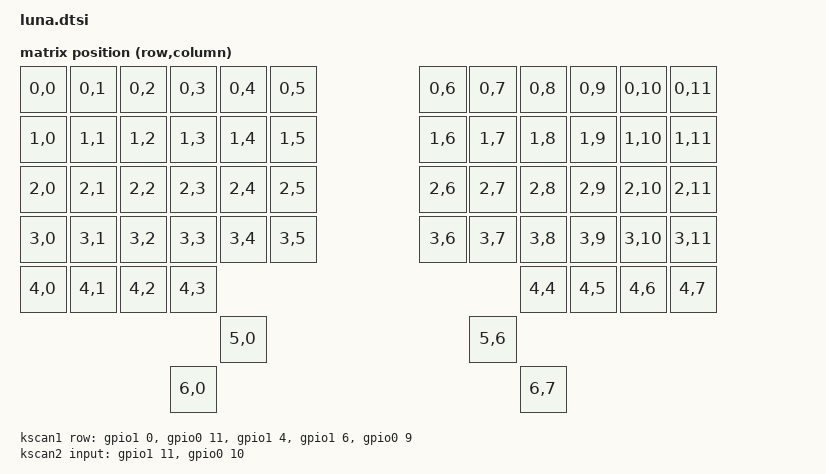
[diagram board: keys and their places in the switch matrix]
#include<dt-bindings/zmk/matrix_transform.h>

/ {
    chosen {
        zmk,kscan = &kscan0;
        zmk,matrix-transform = &default_transform;
    };

    default_transform: keymap_transform_0 {
        compatible = "zmk,matrix-transform";
        columns = <11>;
        rows = <6>;
        map = <
            RC(0,0) RC(0,1) RC(0,2) RC(0,3) RC(0,4) RC(0,5)                 RC(0,6) RC(0,7) RC(0,8) RC(0,9) RC(0,10) RC(0,11)
            RC(1,0) RC(1,1) RC(1,2) RC(1,3) RC(1,4) RC(1,5)                 RC(1,6) RC(1,7) RC(1,8) RC(1,9) RC(1,10) RC(1,11)
            RC(2,0) RC(2,1) RC(2,2) RC(2,3) RC(2,4) RC(2,5)                 RC(2,6) RC(2,7) RC(2,8) RC(2,9) RC(2,10) RC(2,11)
            RC(3,0) RC(3,1) RC(3,2) RC(3,3) RC(3,4) RC(3,5)                 RC(3,6) RC(3,7) RC(3,8) RC(3,9) RC(3,10) RC(3,11)
            RC(4,0) RC(4,1) RC(4,2) RC(4,3)                                                 RC(4,4) RC(4,5) RC(4,6)  RC(4,7)
                                           RC(5,0)                                   RC(5,6)
                                    RC(6,0)                                                RC(6,7)
        >;
    };

    kscan0:  kscan_composite {
      compatible = "zmk,kscan_composite";

      matrix {
        kscan = <&kscan1>;
      };

      direct {
        kscan = <&kscan2>;
        row-offset = <4>;
      };
    };

    kscan1: kscan_matrix {
        compatible = "zmk,kscan-gpio-matrix";
        diode-direction = "col2row";
        wakeup-source;

        row-gpios
            = <&gpio1 0 (GPIO_ACTIVE_HIGH | GPIO_PULL_DOWN)> 
            , <&gpio0 11 (GPIO_ACTIVE_HIGH | GPIO_PULL_DOWN)>
            , <&gpio1 4 (GPIO_ACTIVE_HIGH | GPIO_PULL_DOWN)>
            , <&gpio1 6 (GPIO_ACTIVE_HIGH | GPIO_PULL_DOWN)>
            , <&gpio0 9 (GPIO_ACTIVE_HIGH | GPIO_PULL_DOWN)> 
            ;

    };

   kscan2: kscan_direct {
          compatible = "zmk,kscan-gpio-direct";
          input-gpios = <&gpio1 11 (GPIO_ACTIVE_LOW | GPIO_PULL_UP)>,  // Direct GPIO 1
                        <&gpio0 10 (GPIO_ACTIVE_LOW | GPIO_PULL_UP)>;  // Direct GPIO 2
          debounce-press-ms = <5>;
          debounce-release-ms = <5>;
      };
};
